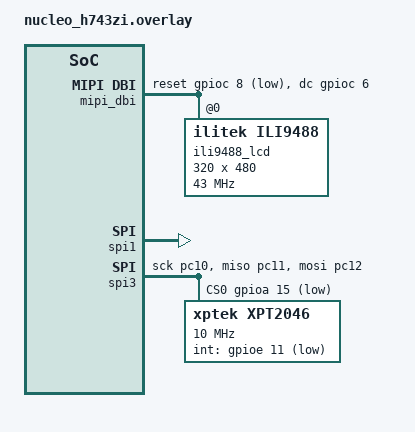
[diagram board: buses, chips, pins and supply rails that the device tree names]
/*
 * HMI gauge demo for ST NUCLEO-H743ZI.
 *
 * Board defaults (nucleo_h743zi.dts) kept enabled:
 *  - absolutely needed: usart3 (PD8/PD9, ST-Link VCP console+shell),
 *    lpuart1 (PB6/PB7, Arduino D0/D1 serial), the RMII Ethernet
 *    (mac/mdio, owns PA7 = SPI1 MOSI on the G4! here we use PB5),
 *    USB OTG FS (PA11/PA12), FDCAN1 (PD0/PD1), LEDs (PB0/PE1/PB14),
 *    DAC1 (PA4), RNG, IWDG.
 *
 * Display + touch pinout (matches the Gauge board wiring; Ethernet and
 * Arduino serial stay live, so three G4 pins move):
 *  - Display SPI1: SCK=PA5(D13) MISO=PA6(D12) MOSI=PB5(D11) CS=PD14(D10)
 *    -> exactly the board's default SPI1, nothing to override.
 *  - Display GPIOs: DC=PC6, RESET=PC8 (same as the G4 build).
 *  - Touch SPI3: SCK=PC10 MISO=PC11 MOSI=PC12 (same as the G4 build),
 *    CS=PA15 (same), IRQ=PE11(D5) (- G4 used PB7 = lpuart1 RX here).
 *
 * No SPI DMA on the H7 for now: the DMAMUX request ids differ from the
 * G4 and need verifying against RM0433; polling suffices for bring-up.
 */

#include <zephyr/dt-bindings/display/panel.h>
#include <freq.h>

/ {
    chosen {
        zephyr,display = &ili9488_lcd;
        zephyr,touch = &xpt2046;
    };

    mipi_dbi: mipi_dbi {
        compatible = "zephyr,mipi-dbi-spi";
        spi-dev = <&spi1>;
        dc-gpios = <&gpioc 6 GPIO_ACTIVE_HIGH>;
        reset-gpios = <&gpioc 8 GPIO_ACTIVE_LOW>;
        #address-cells = <1>;
        #size-cells = <0>;
        status = "okay";

        ili9488_lcd: ili9488@0 {
            compatible = "ilitek,ili9488";
            reg = <0>;
            mipi-mode = "MIPI_DBI_MODE_SPI_4WIRE";
            /* Panel register table matches the G4 build (same LCD module).
             * H7 SPI1 kernel clock is PLL1_Q = 480 MHz; the reached wire
             * rate may differ from the G4's ~43 MHz -> retune if needed. */
            mipi-max-frequency = <DT_FREQ_M(43)>;
            width = <320>;
            height = <480>;
            pixel-format = <PANEL_PIXEL_FORMAT_RGB_888>;
            rotation = <180>;
            frmctr1 = [b0 11];
            disctrl = [02 22 3b];
            pwctrl1 = [11 09];
            pwctrl2 = [41];
            vmctrl = [00 0a 80 40];
            pgamctrl = [00 07 10 09 17 0b 41 89 4b 0a 0c 0e 18 1b 0f];
            ngamctrl = [00 17 1a 04 0e 06 2f 45 43 02 0a 09 32 36 0f];
            status = "okay";
        };
    };
};

&spi1 {
    /* pinctrl + cs-gpios are the board defaults (PA5/PA6/PB5, PD14). */
    status = "okay";
};

&spi3 {
    pinctrl-0 = <&spi3_sck_pc10 &spi3_miso_pc11 &spi3_mosi_pc12>;
    pinctrl-names = "default";
    cs-gpios = <&gpioa 15 GPIO_ACTIVE_LOW>;
    status = "okay";

    xpt2046: xpt2046@0 {
        compatible = "xptek,xpt2046";
        reg = <0>;
        spi-max-frequency = <DT_FREQ_M(10)>;
        /* PE11 = Arduino D5; PB7 (G4 wiring) stays lpuart1 RX here. */
        int-gpios = <&gpioe 11 GPIO_ACTIVE_LOW>;

        /* Raw XPT2046 cal is panel- and driver-raw, independent of the
         * host MCU, so the values from the G4 stays valid on this panel. */
        min-x = <1300>;
        max-x = <4095>;
        min-y = <683>;
        max-y = <3800>;
        touchscreen-size-x = <4096>;
        touchscreen-size-y = <4096>;
        z-threshold = <100>;
        reads = <10>;

        inverted-y;

        screen-width = <4096>;
        screen-height = <4096>;
        display = <&ili9488_lcd>;
    };
};
